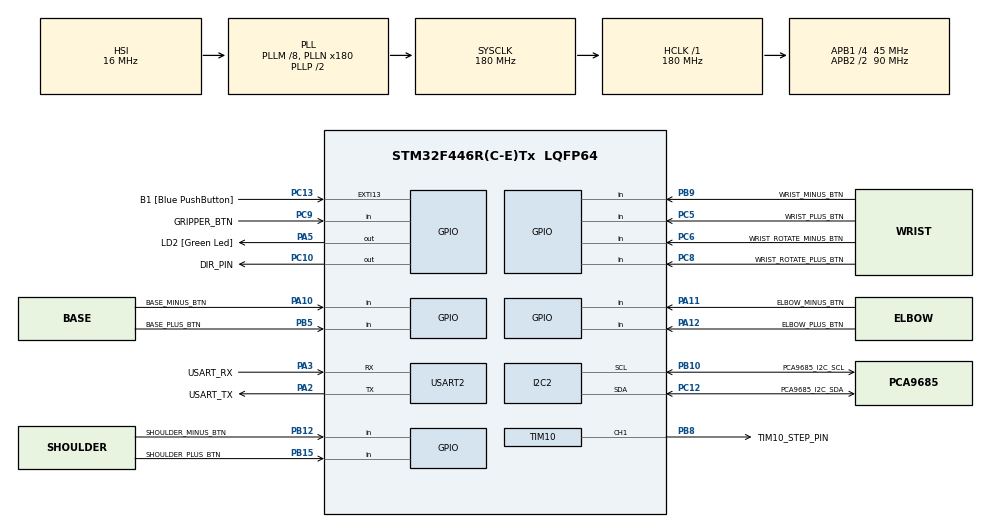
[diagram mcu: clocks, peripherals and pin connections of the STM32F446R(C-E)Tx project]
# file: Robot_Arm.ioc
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Mcu.Family=STM32F4
Mcu.Name=STM32F446R(C-E)Tx
Mcu.Package=LQFP64
NVIC.PriorityGroup=NVIC_PRIORITYGROUP_0
NVIC.TIM1_UP_TIM10_IRQn=true\:0\:0\:false\:false\:true\:true\:true\:true
PA10.GPIO_Label=BASE_MINUS_BTN
PA10.GPIO_PuPd=GPIO_PULLUP
PA10.Signal=GPIO_Input
PA11.GPIO_Label=ELBOW_MINUS_BTN
PA11.GPIO_PuPd=GPIO_PULLUP
PA11.Signal=GPIO_Input
PA12.GPIO_Label=ELBOW_PLUS_BTN
PA12.GPIO_PuPd=GPIO_PULLUP
PA12.Signal=GPIO_Input
PA13.GPIO_Label=TMS
PA13.Mode=Serial_Wire
PA13.Signal=SYS_JTMS-SWDIO
PA14.GPIO_Label=TCK
PA14.Mode=Serial_Wire
PA14.Signal=SYS_JTCK-SWCLK
PA2.GPIO_Label=USART_TX
PA2.Mode=Asynchronous
PA2.Signal=USART2_TX
PA3.GPIO_Label=USART_RX
PA3.Mode=Asynchronous
PA3.Signal=USART2_RX
PA5.GPIO_Label=LD2 [Green Led]
PA5.Signal=GPIO_Output
PB10.GPIO_Label=PCA9685_I2C_SCL
PB10.Mode=I2C
PB10.Signal=I2C2_SCL
PB12.GPIO_Label=SHOULDER_MINUS_BTN
PB12.GPIO_PuPd=GPIO_PULLUP
PB12.Signal=GPIO_Input
PB15.GPIO_Label=SHOULDER_PLUS_BTN
PB15.GPIO_PuPd=GPIO_PULLUP
PB15.Signal=GPIO_Input
PB3.GPIO_Label=SWO
PB3.Signal=SYS_JTDO-SWO
PB5.GPIO_Label=BASE_PLUS_BTN
PB5.GPIO_PuPd=GPIO_PULLUP
PB5.Signal=GPIO_Input
PB8.GPIO_Label=TIM10_STEP_PIN
PB8.GPIO_Speed=GPIO_SPEED_FREQ_VERY_HIGH
PB8.Signal=S_TIM10_CH1
PB9.GPIO_Label=WRIST_MINUS_BTN
PB9.GPIO_PuPd=GPIO_PULLUP
PB9.Signal=GPIO_Input
PC10.GPIO_Label=DIR_PIN
PC10.GPIO_Speed=GPIO_SPEED_FREQ_VERY_HIGH
PC10.PinState=GPIO_PIN_SET
PC10.Signal=GPIO_Output
PC12.GPIO_Label=PCA9685_I2C_SDA
PC12.Mode=I2C
PC12.Signal=I2C2_SDA
PC13.GPIO_Label=B1 [Blue PushButton]
PC13.GPIO_ModeDefaultEXTI=GPIO_MODE_IT_FALLING
PC13.Signal=GPXTI13
PC14-OSC32_IN.Mode=LSE-External-Oscillator
PC14-OSC32_IN.Signal=RCC_OSC32_IN
PC15-OSC32_OUT.Mode=LSE-External-Oscillator
PC15-OSC32_OUT.Signal=RCC_OSC32_OUT
PC5.GPIO_Label=WRIST_PLUS_BTN
PC5.GPIO_Mode=GPIO_MODE_INPUT
PC5.GPIO_PuPd=GPIO_PULLUP
PC5.Signal=GPIO_Input
PC6.GPIO_Label=WRIST_ROTATE_MINUS_BTN
PC6.GPIO_PuPd=GPIO_PULLUP
PC6.Signal=GPIO_Input
PC8.GPIO_Label=WRIST_ROTATE_PLUS_BTN
PC8.GPIO_PuPd=GPIO_PULLUP
PC8.Signal=GPIO_Input
PC9.GPIO_Label=GRIPPER_BTN
PC9.GPIO_PuPd=GPIO_PULLUP
PC9.Signal=GPIO_Input
PH0-OSC_IN.Mode=HSE-External-Oscillator
PH0-OSC_IN.Signal=RCC_OSC_IN
PH1-OSC_OUT.Mode=HSE-External-Oscillator
PH1-OSC_OUT.Signal=RCC_OSC_OUT
ProjectManager.HeapSize=0x200
ProjectManager.StackSize=0x400
ProjectManager.TargetToolchain=STM32CubeIDE
RCC.48MHZClocksFreq_Value=84000000
RCC.AHBFreq_Value=180000000
RCC.APB1CLKDivider=RCC_HCLK_DIV4
RCC.APB1Freq_Value=45000000
RCC.APB1TimFreq_Value=90000000
RCC.APB2CLKDivider=RCC_HCLK_DIV2
RCC.APB2Freq_Value=90000000
RCC.APB2TimFreq_Value=180000000
RCC.CortexFreq_Value=180000000
RCC.FLatency-AdvancedSettings=FLASH_LATENCY_5
RCC.HCLKFreq_Value=180000000
RCC.HSE_VALUE=8000000
RCC.HSI_VALUE=16000000
RCC.PLLM=8
RCC.PLLN=180
RCC.SYSCLKFreq_VALUE=180000000
RCC.SYSCLKSource=RCC_SYSCLKSOURCE_PLLCLK
RCC.USBFreq_Value=180000000
RCC.VCOOutputFreq_Value=360000000
SH.S_TIM10_CH1.0=TIM10_CH1,Output Compare1 CH1
TIM10.Channel=TIM_CHANNEL_1
TIM10.OCMode_1=TIM_OCMODE_TOGGLE
TIM10.Period=2000-1
TIM10.Prescaler=180-1
USART2.VirtualMode=VM_ASYNC
VP_TIM10_VS_ClockSourceINT.Mode=Enable_Timer
board=NUCLEO-F446RE

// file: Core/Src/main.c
/* USER CODE BEGIN Header */
/**
  ******************************************************************************
  * @file           : main.c
  * @brief          : Main program body
  ******************************************************************************
  * @attention
  *
  * Copyright (c) 2025 STMicroelectronics.
  * All rights reserved.
  *
  * This software is licensed under terms that can be found in the LICENSE file
  * in the root directory of this software component.
  * If no LICENSE file comes with this software, it is provided AS-IS.
  *
  ******************************************************************************
  */
/* USER CODE END Header */
#include "main.h"

/* USER CODE BEGIN Includes */
#include "servo_driver.h"
#include "stepper_driver.h"

/* USER CODE END Includes */

I2C_HandleTypeDef hi2c2;

TIM_HandleTypeDef htim10;

UART_HandleTypeDef huart2;

void SystemClock_Config(void);
static void MX_GPIO_Init(void);
static void MX_USART2_UART_Init(void);
static void MX_I2C2_Init(void);
static void MX_TIM10_Init(void);

int main(void)
{

  /* MCU Configuration--------------------------------------------------------*/

  /* Reset of all peripherals, Initializes the Flash interface and the Systick. */
  HAL_Init();

  /* Configure the system clock */
  SystemClock_Config();

  /* Initialize all configured peripherals */
  MX_GPIO_Init();
  MX_USART2_UART_Init();
  MX_I2C2_Init();
  MX_TIM10_Init();
  /* USER CODE BEGIN 2 */
  servo_driver_init(&hi2c2);

  /* USER CODE END 2 */

  /* Infinite loop */
  /* USER CODE BEGIN WHILE */
  while (1)
  {
	  //Gripper Button
	  if (HAL_GPIO_ReadPin(GRIPPER_BTN_GPIO_Port, GRIPPER_BTN_Pin) == GPIO_PIN_RESET)
	  {
		  if (servos[CH5_GRIPPER].current_tick == SERVO_GRIPPER_CLOSE_TICK)
		  {
			  servo_set_pwm(&servos[CH5_GRIPPER], SERVO_GRIPPER_OPEN_TICK);
		  }
		  else
		  {
			  servo_set_pwm(&servos[CH5_GRIPPER], SERVO_GRIPPER_CLOSE_TICK);
		  }
	  }

	  //Wrist up and down Buttons
	  if (HAL_GPIO_ReadPin(WRIST_MINUS_BTN_GPIO_Port, WRIST_MINUS_BTN_Pin) == GPIO_PIN_RESET)
	  {
		  servo_set_pwm(&servos[CH3_WRIST], servos[CH3_WRIST].current_tick - 10);
	  }
	  else if (HAL_GPIO_ReadPin(WRIST_PLUS_BTN_GPIO_Port, WRIST_PLUS_BTN_Pin) == GPIO_PIN_RESET)
	  {
		  servo_set_pwm(&servos[CH3_WRIST], servos[CH3_WRIST].current_tick + 10);
	  }

	  //Wrist rotation buttons
	  if (HAL_GPIO_ReadPin(WRIST_ROTATE_MINUS_BTN_GPIO_Port, WRIST_ROTATE_MINUS_BTN_Pin) == GPIO_PIN_RESET)
	  {
		  servo_set_pwm(&servos[CH4_GRIPPER_ROTATOR], servos[CH4_GRIPPER_ROTATOR].current_tick - 10);
	  }
	  else if (HAL_GPIO_ReadPin(WRIST_ROTATE_PLUS_BTN_GPIO_Port, WRIST_ROTATE_PLUS_BTN_Pin) == GPIO_PIN_RESET)
	  {
		  servo_set_pwm(&servos[CH4_GRIPPER_ROTATOR], servos[CH4_GRIPPER_ROTATOR].current_tick + 10);
	  }

	  //Elbow rotation buttons
	  if (HAL_GPIO_ReadPin(ELBOW_MINUS_BTN_GPIO_Port, ELBOW_MINUS_BTN_Pin) == GPIO_PIN_RESET)
	  {
		  servo_set_pwm(&servos[CH2_ELBOW], servos[CH2_ELBOW].current_tick + 10);
	  }
	  else if (HAL_GPIO_ReadPin(ELBOW_PLUS_BTN_GPIO_Port, ELBOW_PLUS_BTN_Pin) == GPIO_PIN_RESET)
	  {
		  servo_set_pwm(&servos[CH2_ELBOW], servos[CH2_ELBOW].current_tick - 10);
	  }

	  //Shoulder rotation buttons
	  if (HAL_GPIO_ReadPin(SHOULDER_MINUS_BTN_GPIO_Port, SHOULDER_MINUS_BTN_Pin) == GPIO_PIN_RESET)
	  {
		  servo_set_pwm(&servos[CH1_RIGHT_SHOULDER], servos[CH1_RIGHT_SHOULDER].current_tick - 10);
		  servo_set_pwm(&servos[CH0_LEFT_SHOULDER], servos[CH0_LEFT_SHOULDER].current_tick + 10);
	  }
	  else if (HAL_GPIO_ReadPin(SHOULDER_PLUS_BTN_GPIO_Port, SHOULDER_PLUS_BTN_Pin) == GPIO_PIN_RESET)
	  {
		  servo_set_pwm(&servos[CH1_RIGHT_SHOULDER], servos[CH1_RIGHT_SHOULDER].current_tick + 10);
		  servo_set_pwm(&servos[CH0_LEFT_SHOULDER], servos[CH0_LEFT_SHOULDER].current_tick - 10);

	  }

	  //Base rotation buttons

	  if (HAL_GPIO_ReadPin(BASE_MINUS_BTN_GPIO_Port, BASE_MINUS_BTN_Pin) == GPIO_PIN_RESET)
	  {
		  HAL_GPIO_WritePin(DIR_PIN_GPIO_Port, DIR_PIN_Pin, GPIO_PIN_SET);
		  HAL_TIM_OC_Start_IT(&htim10, TIM_CHANNEL_1);
	  }
	  else if (HAL_GPIO_ReadPin(BASE_PLUS_BTN_GPIO_Port, BASE_PLUS_BTN_Pin) == GPIO_PIN_RESET)
	  {
		  HAL_GPIO_WritePin(DIR_PIN_GPIO_Port, DIR_PIN_Pin, GPIO_PIN_RESET);
		  HAL_TIM_OC_Start_IT(&htim10, TIM_CHANNEL_1);
	  }

    /* USER CODE END WHILE */

    /* USER CODE BEGIN 3 */
	  HAL_Delay(100);

  }
  /* USER CODE END 3 */
}

void SystemClock_Config(void)
{
  RCC_OscInitTypeDef RCC_OscInitStruct = {0};
  RCC_ClkInitTypeDef RCC_ClkInitStruct = {0};

  /** Configure the main internal regulator output voltage
  */
  __HAL_RCC_PWR_CLK_ENABLE();
  __HAL_PWR_VOLTAGESCALING_CONFIG(PWR_REGULATOR_VOLTAGE_SCALE1);

  /** Initializes the RCC Oscillators according to the specified parameters
  * in the RCC_OscInitTypeDef structure.
  */
  RCC_OscInitStruct.OscillatorType = RCC_OSCILLATORTYPE_HSI;
  RCC_OscInitStruct.HSIState = RCC_HSI_ON;
  RCC_OscInitStruct.HSICalibrationValue = RCC_HSICALIBRATION_DEFAULT;
  RCC_OscInitStruct.PLL.PLLState = RCC_PLL_ON;
  RCC_OscInitStruct.PLL.PLLSource = RCC_PLLSOURCE_HSI;
  RCC_OscInitStruct.PLL.PLLM = 8;
  RCC_OscInitStruct.PLL.PLLN = 180;
  RCC_OscInitStruct.PLL.PLLP = RCC_PLLP_DIV2;
  RCC_OscInitStruct.PLL.PLLQ = 2;
  RCC_OscInitStruct.PLL.PLLR = 2;
  if (HAL_RCC_OscConfig(&RCC_OscInitStruct) != HAL_OK)
  {
    Error_Handler();
  }

  /** Activate the Over-Drive mode
  */
  if (HAL_PWREx_EnableOverDrive() != HAL_OK)
  {
    Error_Handler();
  }

  /** Initializes the CPU, AHB and APB buses clocks
  */
  RCC_ClkInitStruct.ClockType = RCC_CLOCKTYPE_HCLK|RCC_CLOCKTYPE_SYSCLK
                              |RCC_CLOCKTYPE_PCLK1|RCC_CLOCKTYPE_PCLK2;
  RCC_ClkInitStruct.SYSCLKSource = RCC_SYSCLKSOURCE_PLLCLK;
  RCC_ClkInitStruct.AHBCLKDivider = RCC_SYSCLK_DIV1;
  RCC_ClkInitStruct.APB1CLKDivider = RCC_HCLK_DIV4;
  RCC_ClkInitStruct.APB2CLKDivider = RCC_HCLK_DIV2;

  if (HAL_RCC_ClockConfig(&RCC_ClkInitStruct, FLASH_LATENCY_5) != HAL_OK)
  {
    Error_Handler();
  }
}

static void MX_I2C2_Init(void)
{

  hi2c2.Instance = I2C2;
  hi2c2.Init.ClockSpeed = 100000;
  hi2c2.Init.DutyCycle = I2C_DUTYCYCLE_2;
  hi2c2.Init.OwnAddress1 = 0;
  hi2c2.Init.AddressingMode = I2C_ADDRESSINGMODE_7BIT;
  hi2c2.Init.DualAddressMode = I2C_DUALADDRESS_DISABLE;
  hi2c2.Init.OwnAddress2 = 0;
  hi2c2.Init.GeneralCallMode = I2C_GENERALCALL_DISABLE;
  hi2c2.Init.NoStretchMode = I2C_NOSTRETCH_DISABLE;
  if (HAL_I2C_Init(&hi2c2) != HAL_OK)
  {
    Error_Handler();
  }

}

static void MX_TIM10_Init(void)
{

  TIM_OC_InitTypeDef sConfigOC = {0};

  htim10.Instance = TIM10;
  htim10.Init.Prescaler = 180-1;
  htim10.Init.CounterMode = TIM_COUNTERMODE_UP;
  htim10.Init.Period = 2000-1;
  htim10.Init.ClockDivision = TIM_CLOCKDIVISION_DIV1;
  htim10.Init.AutoReloadPreload = TIM_AUTORELOAD_PRELOAD_DISABLE;
  if (HAL_TIM_Base_Init(&htim10) != HAL_OK)
  {
    Error_Handler();
  }
  if (HAL_TIM_OC_Init(&htim10) != HAL_OK)
  {
    Error_Handler();
  }
  sConfigOC.OCMode = TIM_OCMODE_TOGGLE;
  sConfigOC.Pulse = 0;
  sConfigOC.OCPolarity = TIM_OCPOLARITY_HIGH;
  sConfigOC.OCFastMode = TIM_OCFAST_DISABLE;
  if (HAL_TIM_OC_ConfigChannel(&htim10, &sConfigOC, TIM_CHANNEL_1) != HAL_OK)
  {
    Error_Handler();
  }
  HAL_TIM_MspPostInit(&htim10);

}

static void MX_USART2_UART_Init(void)
{

  huart2.Instance = USART2;
  huart2.Init.BaudRate = 115200;
  huart2.Init.WordLength = UART_WORDLENGTH_8B;
  huart2.Init.StopBits = UART_STOPBITS_1;
  huart2.Init.Parity = UART_PARITY_NONE;
  huart2.Init.Mode = UART_MODE_TX_RX;
  huart2.Init.HwFlowCtl = UART_HWCONTROL_NONE;
  huart2.Init.OverSampling = UART_OVERSAMPLING_16;
  if (HAL_UART_Init(&huart2) != HAL_OK)
  {
    Error_Handler();
  }

}

static void MX_GPIO_Init(void)
{
  GPIO_InitTypeDef GPIO_InitStruct = {0};

  /* GPIO Ports Clock Enable */
  __HAL_RCC_GPIOC_CLK_ENABLE();
  __HAL_RCC_GPIOH_CLK_ENABLE();
  __HAL_RCC_GPIOA_CLK_ENABLE();
  __HAL_RCC_GPIOB_CLK_ENABLE();

  /*Configure GPIO pin Output Level */
  HAL_GPIO_WritePin(LD2_GPIO_Port, LD2_Pin, GPIO_PIN_RESET);

  /*Configure GPIO pin Output Level */
  HAL_GPIO_WritePin(DIR_PIN_GPIO_Port, DIR_PIN_Pin, GPIO_PIN_SET);

  /*Configure GPIO pin : B1_Pin */
  GPIO_InitStruct.Pin = B1_Pin;
  GPIO_InitStruct.Mode = GPIO_MODE_IT_FALLING;
  GPIO_InitStruct.Pull = GPIO_NOPULL;
  HAL_GPIO_Init(B1_GPIO_Port, &GPIO_InitStruct);

  /*Configure GPIO pin : LD2_Pin */
  GPIO_InitStruct.Pin = LD2_Pin;
  GPIO_InitStruct.Mode = GPIO_MODE_OUTPUT_PP;
  GPIO_InitStruct.Pull = GPIO_NOPULL;
  GPIO_InitStruct.Speed = GPIO_SPEED_FREQ_LOW;
  HAL_GPIO_Init(LD2_GPIO_Port, &GPIO_InitStruct);

  /*Configure GPIO pins : WRIST_PLUS_BTN_Pin WRIST_ROTATE_MINUS_BTN_Pin WRIST_ROTATE_PLUS_BTN_Pin GRIPPER_BTN_Pin */
  GPIO_InitStruct.Pin = WRIST_PLUS_BTN_Pin|WRIST_ROTATE_MINUS_BTN_Pin|WRIST_ROTATE_PLUS_BTN_Pin|GRIPPER_BTN_Pin;
  GPIO_InitStruct.Mode = GPIO_MODE_INPUT;
  GPIO_InitStruct.Pull = GPIO_PULLUP;
  HAL_GPIO_Init(GPIOC, &GPIO_InitStruct);

  /*Configure GPIO pins : SHOULDER_MINUS_BTN_Pin SHOULDER_PLUS_BTN_Pin BASE_PLUS_BTN_Pin WRIST_MINUS_BTN_Pin */
  GPIO_InitStruct.Pin = SHOULDER_MINUS_BTN_Pin|SHOULDER_PLUS_BTN_Pin|BASE_PLUS_BTN_Pin|WRIST_MINUS_BTN_Pin;
  GPIO_InitStruct.Mode = GPIO_MODE_INPUT;
  GPIO_InitStruct.Pull = GPIO_PULLUP;
  HAL_GPIO_Init(GPIOB, &GPIO_InitStruct);

  /*Configure GPIO pins : BASE_MINUS_BTN_Pin ELBOW_MINUS_BTN_Pin ELBOW_PLUS_BTN_Pin */
  GPIO_InitStruct.Pin = BASE_MINUS_BTN_Pin|ELBOW_MINUS_BTN_Pin|ELBOW_PLUS_BTN_Pin;
  GPIO_InitStruct.Mode = GPIO_MODE_INPUT;
  GPIO_InitStruct.Pull = GPIO_PULLUP;
  HAL_GPIO_Init(GPIOA, &GPIO_InitStruct);

  /*Configure GPIO pin : DIR_PIN_Pin */
  GPIO_InitStruct.Pin = DIR_PIN_Pin;
  GPIO_InitStruct.Mode = GPIO_MODE_OUTPUT_PP;
  GPIO_InitStruct.Pull = GPIO_NOPULL;
  GPIO_InitStruct.Speed = GPIO_SPEED_FREQ_VERY_HIGH;
  HAL_GPIO_Init(DIR_PIN_GPIO_Port, &GPIO_InitStruct);

}

void Error_Handler(void)
{
  __disable_irq();
  while (1)
  {
  }
}
